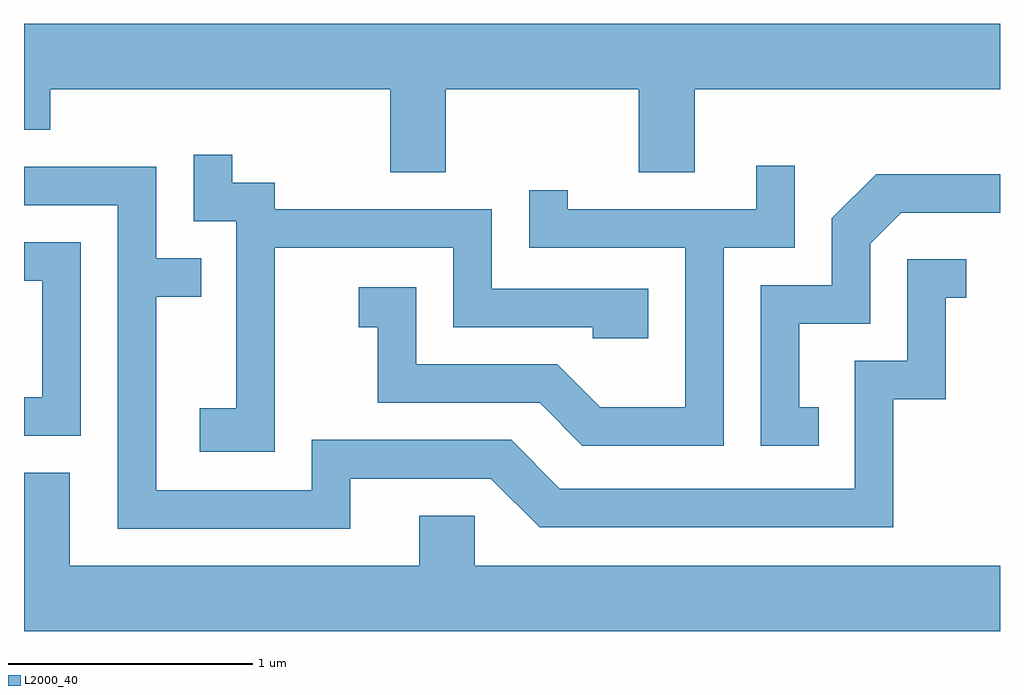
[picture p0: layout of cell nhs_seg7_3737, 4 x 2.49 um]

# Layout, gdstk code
import gdstk
lib = gdstk.Library(unit=1e-6, precision=1e-09)
def P(c, l, *ps):  # polygons
    for p in ps: c.add(gdstk.Polygon(p, *l))
L2000_40 = (2000, 40)

nhs_seg7_3737 = lib.new_cell('nhs_seg7_3737')
P(nhs_seg7_3737, L2000_40, [(301.339,1736.516),(302.131,1736.516),(302.131,1736.176),(302.359,1736.176),(302.359,1736.516),(303.611,1736.516),(303.611,1736.784),(299.611,1736.784),(299.611,1736.351),(299.719,1736.351),(299.719,1736.516),(301.111,1736.516),(301.111,1736.176),(301.339,1736.176)],
  [(300.639,1735.866),(301.371,1735.866),(301.371,1735.541),(301.941,1735.541),(301.941,1735.496),(302.169,1735.496),(302.169,1735.699),(301.529,1735.699),(301.529,1736.024),(300.639,1736.024),(300.639,1736.134),(300.464,1736.134),(300.464,1736.248),(300.306,1736.248),(300.306,1735.976),(300.481,1735.976),(300.481,1735.209),(300.331,1735.209),(300.331,1735.031),(300.639,1735.031)],
  [(302.479,1735.866),(302.769,1735.866),(302.769,1736.203),(302.611,1736.203),(302.611,1736.024),(301.839,1736.024),(301.839,1736.103),(301.681,1736.103),(301.681,1735.866),(302.321,1735.866),(302.321,1735.214),(301.972,1735.214),(301.797,1735.389),(301.219,1735.389),(301.219,1735.704),(300.983,1735.704),(300.983,1735.541),(301.061,1735.541),(301.061,1735.231),(301.724,1735.231),(301.899,1735.056),(302.479,1735.056)],
  [(300.949,1734.921),(301.524,1734.921),(301.724,1734.721),(303.174,1734.721),(303.174,1735.246),(303.389,1735.246),(303.389,1735.661),(303.473,1735.661),(303.473,1735.819),(303.231,1735.819),(303.231,1735.404),(303.016,1735.404),(303.016,1734.879),(301.807,1734.879),(301.607,1735.079),(300.791,1735.079),(300.791,1734.874),(300.154,1734.874),(300.154,1735.666),(300.338,1735.666),(300.338,1735.824),(300.154,1735.824),(300.154,1736.199),(299.611,1736.199),(299.611,1736.041),(299.996,1736.041),(299.996,1734.716),(300.949,1734.716)],
  [(302.868,1735.214),(302.789,1735.214),(302.789,1735.556),(303.079,1735.556),(303.079,1735.884),(303.207,1736.011),(303.611,1736.011),(303.611,1736.169),(303.104,1736.169),(302.921,1735.987),(302.921,1735.714),(302.631,1735.714),(302.631,1735.056),(302.868,1735.056)],
  [(299.844,1735.889),(299.611,1735.889),(299.611,1735.731),(299.686,1735.731),(299.686,1735.254),(299.611,1735.254),(299.611,1735.096),(299.844,1735.096)],
  [(303.611,1734.564),(301.459,1734.564),(301.459,1734.769),(301.231,1734.769),(301.231,1734.564),(299.799,1734.564),(299.799,1734.944),(299.611,1734.944),(299.611,1734.296),(303.611,1734.296)])

lib.write_gds('nhs_seg7_3737.gds')
